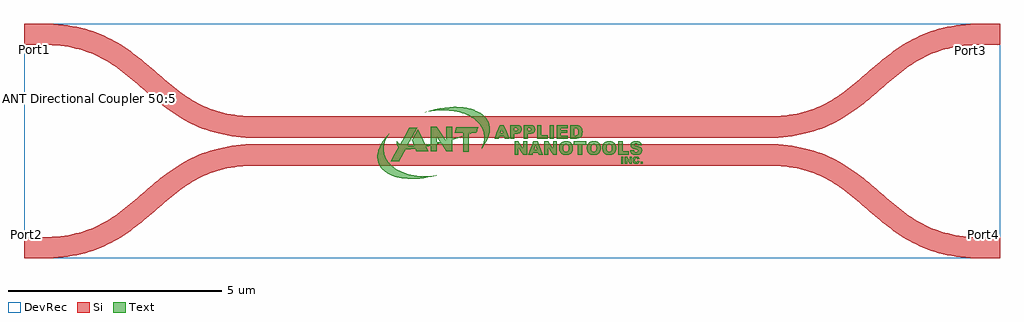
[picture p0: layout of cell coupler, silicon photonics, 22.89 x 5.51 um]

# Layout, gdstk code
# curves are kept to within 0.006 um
import gdstk
lib = gdstk.Library(unit=1e-6, precision=1e-09)
def R(c, l, rs):  # rectangles x0, y0, x1, y1
    for r in rs: c.add(gdstk.rectangle(r[:2], r[2:], *l))
def P(c, l, *ps):  # polygons
    for p in ps: c.add(gdstk.Polygon(p, *l))
Si = (1, 0)
Text = (10, 0)
DevRec = (68, 0)

coupler = lib.new_cell('coupler')
P(coupler, Si, [(-11.447,-2.755),(-11.447,-2.255),(-10.892,-2.254),(-10.494,-2.22),(-10.147,-2.147),(-9.84,-2.041),(-9.565,-1.907),(-9.251,-1.706),(-9.013,-1.524),(-8.426,-1.021),(-8.174,-0.817),(-7.829,-0.575),(-7.6,-0.444),(-7.265,-0.293),(-7.082,-0.229),(-6.889,-0.176),(-6.579,-0.115),(-6.357,-0.09),(-6.122,-0.077),(6.003,-0.075),(6.241,-0.082),(6.469,-0.101),(6.789,-0.153),(6.987,-0.201),(7.175,-0.26),(7.52,-0.403),(7.755,-0.53),(8.041,-0.717),(8.238,-0.867),(8.955,-1.476),(9.19,-1.662),(9.373,-1.79),(9.565,-1.907),(9.84,-2.041),(10.147,-2.147),(10.494,-2.22),(10.892,-2.254),(11.447,-2.255),(11.447,-2.755),(10.878,-2.753),(10.531,-2.729),(10.211,-2.677),(9.918,-2.601),(9.735,-2.537),(9.48,-2.427),(9.245,-2.3),(9.028,-2.161),(8.698,-1.912),(7.869,-1.213),(7.627,-1.04),(7.435,-0.923),(7.16,-0.789),(6.853,-0.683),(6.597,-0.625),(6.314,-0.588),(5.997,-0.575),(-6.108,-0.576),(-6.506,-0.61),(-6.771,-0.662),(-7.086,-0.76),(-7.369,-0.887),(-7.627,-1.04),(-7.869,-1.213),(-8.636,-1.861),(-8.959,-2.113),(-9.322,-2.344),(-9.648,-2.502),(-9.825,-2.57),(-10.013,-2.629),(-10.211,-2.677),(-10.421,-2.715),(-10.643,-2.74),(-10.878,-2.753)],
  [(-6.003,0.075),(-6.241,0.082),(-6.469,0.101),(-6.789,0.153),(-6.987,0.201),(-7.175,0.26),(-7.52,0.403),(-7.829,0.575),(-8.108,0.767),(-8.364,0.969),(-9.013,1.524),(-9.251,1.706),(-9.565,1.907),(-9.84,2.041),(-10.147,2.147),(-10.494,2.22),(-10.892,2.254),(-11.447,2.255),(-11.447,2.755),(-10.878,2.753),(-10.643,2.74),(-10.421,2.715),(-10.211,2.677),(-10.013,2.629),(-9.735,2.537),(-9.48,2.427),(-9.322,2.344),(-8.959,2.113),(-8.636,1.861),(-7.869,1.213),(-7.627,1.04),(-7.369,0.887),(-7.16,0.789),(-7.011,0.732),(-6.686,0.642),(-6.314,0.588),(-5.997,0.575),(5.997,0.575),(6.412,0.598),(6.686,0.642),(7.011,0.732),(7.231,0.82),(7.5,0.961),(7.688,1.081),(7.928,1.259),(8.636,1.861),(8.959,2.113),(9.322,2.344),(9.648,2.502),(9.825,2.57),(10.013,2.629),(10.211,2.677),(10.421,2.715),(10.643,2.74),(10.878,2.753),(11.447,2.755),(11.447,2.255),(10.892,2.254),(10.494,2.22),(10.147,2.147),(9.989,2.098),(9.769,2.01),(9.631,1.943),(9.436,1.831),(9.19,1.662),(8.955,1.476),(8.238,0.867),(8.041,0.717),(7.755,0.53),(7.52,0.403),(7.175,0.26),(6.889,0.176),(6.579,0.115),(6.357,0.09),(6.08,0.075)])
R(coupler, Text, [(3.016,-0.53,3.064,-0.483)])
P(coupler, Text, [(-0.715,-0.177),(-0.673,-0.07),(-0.655,0.013),(-0.651,0.117),(-0.667,0.209),(-0.709,0.314),(-0.776,0.411),(-0.846,0.481),(-0.94,0.549),(-1.042,0.605),(-1.172,0.655),(-1.411,0.708),(-1.695,0.72),(-1.898,0.7),(-2.044,0.674),(-1.812,0.741),(-1.693,0.765),(-1.465,0.794),(-1.302,0.798),(-1.139,0.787),(-0.995,0.76),(-0.857,0.715),(-0.746,0.659),(-0.649,0.582),(-0.581,0.496),(-0.533,0.381),(-0.521,0.299),(-0.533,0.166),(-0.563,0.07),(-0.635,-0.069)],
  [(-0.41,0.058),(-0.324,0.288),(-0.241,0.288),(-0.275,0.177),(-0.207,0.177),(-0.241,0.288),(-0.324,0.288),(-0.293,0.37),(-0.188,0.37),(-0.07,0.058),(-0.171,0.058),(-0.186,0.109),(-0.296,0.109),(-0.311,0.058)],
  [(0.59,0.058),(0.59,0.37),(0.687,0.37),(0.687,0.136),(0.837,0.136),(0.837,0.058)],
  [(0.884,0.058),(0.884,0.37),(0.981,0.37),(0.982,0.214),(0.981,0.058)],
  [(1.05,0.058),(1.05,0.37),(1.309,0.37),(1.308,0.302),(1.148,0.303),(1.147,0.254),(1.297,0.254),(1.297,0.19),(1.147,0.19),(1.147,0.129),(1.313,0.129),(1.313,0.058)],
  [(1.366,0.058),(1.366,0.3),(1.463,0.3),(1.463,0.129),(1.534,0.138),(1.55,0.158),(1.557,0.192),(1.553,0.258),(1.538,0.285),(1.489,0.3),(1.366,0.3),(1.366,0.37),(1.54,0.369),(1.609,0.34),(1.638,0.3),(1.653,0.244),(1.651,0.169),(1.624,0.105),(1.594,0.078),(1.549,0.062)],
  [(-0.039,0.058),(-0.039,0.306),(0.085,0.306),(0.057,0.306),(0.057,0.237),(0.109,0.24),(0.132,0.263),(0.126,0.293),(0.103,0.305),(-0.039,0.306),(-0.039,0.37),(0.135,0.37),(0.191,0.353),(0.212,0.331),(0.226,0.284),(0.221,0.238),(0.204,0.206),(0.161,0.179),(0.058,0.173),(0.058,0.058)],
  [(0.275,0.058),(0.275,0.306),(0.4,0.306),(0.372,0.306),(0.372,0.237),(0.429,0.242),(0.447,0.264),(0.443,0.289),(0.423,0.304),(0.275,0.306),(0.275,0.37),(0.46,0.369),(0.513,0.347),(0.532,0.321),(0.541,0.28),(0.538,0.245),(0.519,0.206),(0.463,0.176),(0.372,0.173),(0.372,0.058)],
  [(-2.84,-0.472),(-2.657,-0.138),(-2.687,-0.106),(-2.702,-0.071),(-2.698,0),(-2.676,-0.034),(-2.623,-0.075),(-2.412,0.308),(-2.221,0.308),(-2.453,-0.114),(-2.373,-0.117),(-2.293,-0.114),(-2.346,0.027),(-2.205,0.28),(-2.033,-0.083),(-1.91,-0.062),(-1.91,0.106),(-1.764,0.106),(-1.764,-0.033),(-1.685,-0.015),(-1.764,0.106),(-1.91,0.106),(-1.91,0.329),(-1.761,0.329),(-1.559,0.015),(-1.544,0.019),(-1.544,0.329),(-1.398,0.329),(-1.398,0.058),(-1.148,0.129),(-1.148,0.191),(-1.345,0.192),(-0.981,0.192),(-1.015,0.192),(-1.015,0.17),(-0.947,0.189),(-1.345,0.192),(-1.302,0.325),(-0.794,0.325),(-0.824,0.232),(-0.811,0.236),(-0.828,0.221),(-0.837,0.191),(-0.929,0.19),(-1.015,0.159),(-1.015,-0.251),(-1.148,-0.251),(-1.148,0.113),(-1.397,0.03),(-1.394,-0.242),(-1.539,-0.242),(-1.662,-0.051),(-1.764,-0.08),(-1.764,-0.238),(-1.909,-0.238),(-1.91,-0.116),(-2.007,-0.138),(-1.961,-0.235),(-2.245,-0.238),(-2.267,-0.182),(-2.493,-0.188),(-2.65,-0.472)],
  [(-2.347,-0.89),(-2.59,-0.871),(-2.753,-0.833),(-2.831,-0.803),(-2.93,-0.752),(-3.012,-0.691),(-3.064,-0.636),(-3.114,-0.558),(-3.136,-0.506),(-3.156,-0.408),(-3.156,-0.327),(-3.132,-0.209),(-3.095,-0.116),(-3.028,-0.001),(-2.882,0.174),(-2.948,0.064),(-2.988,-0.036),(-3.006,-0.12),(-3.008,-0.237),(-2.994,-0.312),(-2.952,-0.418),(-2.9,-0.497),(-2.813,-0.587),(-2.715,-0.658),(-2.609,-0.714),(-2.38,-0.79),(-2.229,-0.815),(-2.076,-0.826),(-1.923,-0.823),(-1.771,-0.806),(-1.88,-0.836),(-2.065,-0.87)],
  [(1.915,-0.327),(1.844,-0.315),(1.79,-0.275),(1.761,-0.212),(1.758,-0.138),(1.776,-0.077),(1.919,-0.077),(1.889,-0.083),(1.865,-0.107),(1.856,-0.136),(1.857,-0.203),(1.87,-0.233),(1.894,-0.251),(1.929,-0.255),(1.954,-0.246),(1.973,-0.225),(1.983,-0.181),(1.981,-0.135),(1.964,-0.095),(1.926,-0.077),(1.777,-0.077),(1.805,-0.041),(1.853,-0.013),(1.956,-0.006),(2.018,-0.029),(2.057,-0.069),(2.074,-0.108),(2.08,-0.183),(2.067,-0.242),(2.032,-0.292),(1.979,-0.32)],
  [(1.252,-0.327),(1.19,-0.314),(1.138,-0.274),(1.11,-0.21),(1.107,-0.136),(1.125,-0.077),(1.268,-0.077),(1.243,-0.081),(1.217,-0.102),(1.203,-0.154),(1.205,-0.196),(1.218,-0.231),(1.236,-0.248),(1.276,-0.255),(1.304,-0.245),(1.324,-0.22),(1.332,-0.173),(1.327,-0.123),(1.311,-0.093),(1.275,-0.077),(1.125,-0.077),(1.147,-0.047),(1.187,-0.019),(1.227,-0.007),(1.305,-0.006),(1.368,-0.03),(1.405,-0.068),(1.425,-0.118),(1.427,-0.201),(1.409,-0.257),(1.373,-0.298),(1.327,-0.321)],
  [(2.265,-0.327),(2.188,-0.306),(2.143,-0.261),(2.121,-0.197),(2.123,-0.121),(2.139,-0.077),(2.28,-0.077),(2.248,-0.085),(2.228,-0.106),(2.218,-0.143),(2.219,-0.196),(2.228,-0.226),(2.247,-0.246),(2.274,-0.255),(2.311,-0.249),(2.333,-0.229),(2.344,-0.189),(2.344,-0.138),(2.329,-0.098),(2.29,-0.077),(2.139,-0.077),(2.173,-0.036),(2.216,-0.013),(2.262,-0.004),(2.333,-0.009),(2.39,-0.036),(2.424,-0.077),(2.442,-0.143),(2.437,-0.219),(2.417,-0.266),(2.378,-0.304),(2.332,-0.323)],
  [(2.894,-0.327),(2.841,-0.318),(2.807,-0.3),(2.783,-0.268),(2.769,-0.219),(2.861,-0.213),(2.876,-0.25),(2.906,-0.265),(2.95,-0.253),(2.956,-0.223),(2.934,-0.204),(2.844,-0.178),(2.803,-0.152),(2.783,-0.118),(2.782,-0.078),(2.798,-0.045),(2.833,-0.017),(2.893,-0.004),(2.962,-0.008),(3.019,-0.039),(3.041,-0.097),(2.951,-0.102),(2.935,-0.071),(2.91,-0.062),(2.879,-0.068),(2.87,-0.091),(2.889,-0.106),(3.011,-0.145),(3.044,-0.182),(3.051,-0.234),(3.033,-0.28),(3.005,-0.306),(2.967,-0.322)],
  [(0.756,-0.322),(0.756,-0.009),(0.846,-0.009),(0.963,-0.18),(0.963,-0.009),(1.054,-0.009),(1.054,-0.322),(0.963,-0.322),(0.847,-0.152),(0.847,-0.322)],
  [(0.434,-0.322),(0.384,-0.321),(0.47,-0.092),(0.554,-0.092),(0.519,-0.203),(0.587,-0.203),(0.554,-0.092),(0.47,-0.092),(0.501,-0.009),(0.607,-0.009),(0.725,-0.322),(0.623,-0.322),(0.608,-0.271),(0.499,-0.271),(0.483,-0.322)],
  [(0.059,-0.322),(0.059,-0.01),(0.15,-0.009),(0.266,-0.18),(0.266,-0.009),(0.357,-0.009),(0.358,-0.322),(0.266,-0.322),(0.151,-0.152),(0.151,-0.322)],
  [(1.545,-0.322),(1.545,-0.087),(1.448,-0.087),(1.448,-0.009),(1.74,-0.009),(1.74,-0.088),(1.643,-0.087),(1.643,-0.322)],
  [(2.494,-0.322),(2.494,-0.009),(2.591,-0.009),(2.591,-0.01),(2.592,-0.01),(2.592,-0.244),(2.742,-0.244),(2.742,-0.321),(2.741,-0.321),(2.741,-0.322)],
  [(2.903,-0.532),(2.87,-0.523),(2.849,-0.505),(2.833,-0.468),(2.833,-0.427),(2.843,-0.399),(2.866,-0.376),(2.89,-0.366),(2.939,-0.366),(2.97,-0.381),(2.991,-0.415),(2.946,-0.425),(2.942,-0.415),(2.927,-0.404),(2.901,-0.405),(2.886,-0.422),(2.882,-0.441),(2.888,-0.481),(2.905,-0.493),(2.924,-0.493),(2.94,-0.48),(2.947,-0.462),(2.992,-0.476),(2.978,-0.506),(2.96,-0.523),(2.942,-0.53)],
  [(2.562,-0.53),(2.562,-0.448),(2.563,-0.367),(2.563,-0.366),(2.613,-0.366),(2.613,-0.53)],
  [(2.65,-0.53),(2.65,-0.366),(2.698,-0.366),(2.758,-0.454),(2.758,-0.366),(2.806,-0.366),(2.806,-0.53),(2.758,-0.53),(2.698,-0.442),(2.698,-0.53)])
R(coupler, DevRec, [(-11.447,-2.755,11.447,2.755)])
coupler.add(gdstk.Label('ANT Directional Coupler 50:50 v1', (-10.007,1), layer=10, texttype=0))
coupler.add(gdstk.Label('Port1', (-11.2,2.15), layer=290, texttype=0))
coupler.add(gdstk.Label('Port3', (10.75,2.13), layer=290, texttype=0))
coupler.add(gdstk.Label('Port2', (-11.391,-2.195), layer=290, texttype=0))
coupler.add(gdstk.Label('Port4', (11.05,-2.195), layer=290, texttype=0))

lib.write_gds('coupler.gds')
